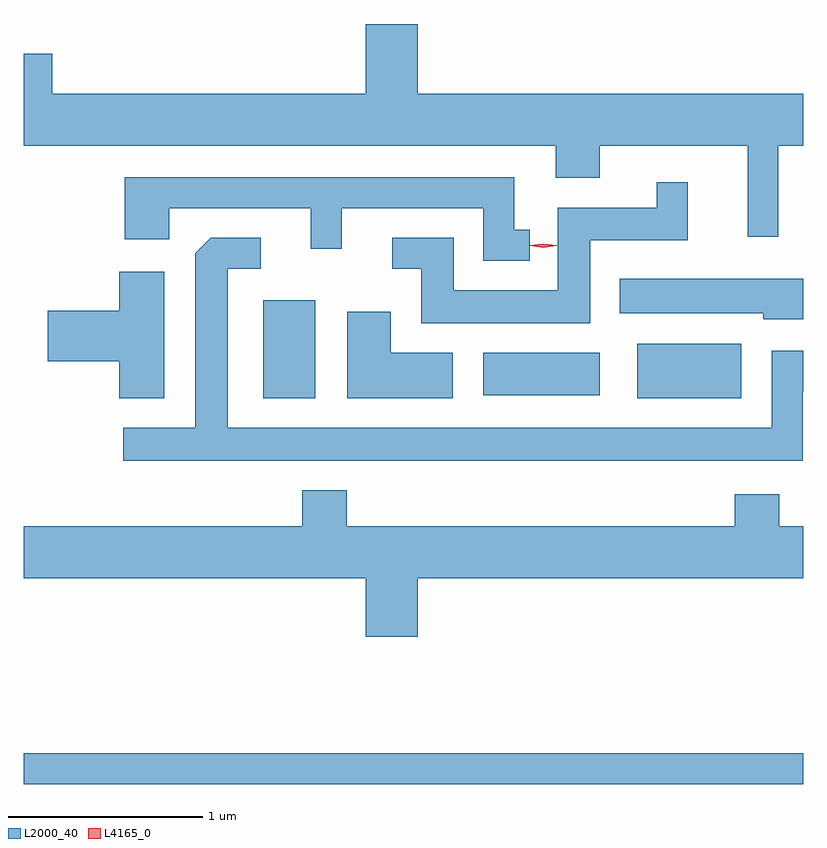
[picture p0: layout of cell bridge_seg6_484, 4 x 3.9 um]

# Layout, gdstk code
import gdstk
lib = gdstk.Library(unit=1e-6, precision=1e-09)
def R(c, l, rs):  # rectangles x0, y0, x1, y1
    for r in rs: c.add(gdstk.rectangle(r[:2], r[2:], *l))
def P(c, l, *ps):  # polygons
    for p in ps: c.add(gdstk.Polygon(p, *l))
L2000_40 = (2000, 40)
L4165_0 = (4165, 0)

bridge_seg6_484 = lib.new_cell('bridge_seg6_484')
R(bridge_seg6_484, L2000_40, [(832.702,1595.601,836.702,1595.759), (833.931,1597.581,834.199,1598.084), (835.851,1597.581,836.384,1597.859), (835.061,1597.596,835.659,1597.814)])
P(bridge_seg6_484, L2000_40, [(836.574,1598.876),(836.702,1598.876),(836.702,1599.144),(834.724,1599.144),(834.724,1599.501),(834.456,1599.501),(834.456,1599.144),(832.849,1599.144),(832.849,1599.349),(832.702,1599.349),(832.702,1598.876),(835.431,1598.876),(835.431,1598.711),(835.659,1598.711),(835.659,1598.876),(836.416,1598.876),(836.416,1598.408),(836.574,1598.408)],
  [(835.298,1598.444),(835.219,1598.444),(835.219,1598.714),(833.221,1598.714),(833.221,1598.396),(833.449,1598.396),(833.449,1598.556),(834.176,1598.556),(834.176,1598.348),(834.334,1598.348),(834.334,1598.556),(835.061,1598.556),(835.061,1598.286),(835.298,1598.286)],
  [(835.609,1598.391),(836.109,1598.391),(836.109,1598.688),(835.951,1598.688),(835.951,1598.559),(835.441,1598.559),(835.441,1598.134),(834.909,1598.134),(834.909,1598.404),(834.593,1598.404),(834.593,1598.246),(834.741,1598.246),(834.741,1597.966),(835.609,1597.966)],
  [(836.699,1597.616),(836.702,1597.616),(836.702,1597.824),(836.541,1597.824),(836.541,1597.429),(833.749,1597.429),(833.749,1598.246),(833.918,1598.246),(833.918,1598.404),(833.662,1598.404),(833.581,1598.324),(833.581,1597.429),(833.213,1597.429),(833.213,1597.261),(836.699,1597.261)],
  [(833.424,1598.229),(833.191,1598.229),(833.191,1598.029),(832.826,1598.029),(832.826,1597.771),(833.191,1597.771),(833.191,1597.581),(833.424,1597.581)],
  [(836.702,1598.194),(835.761,1598.194),(835.761,1598.016),(836.496,1598.016),(836.496,1597.986),(836.702,1597.986)],
  [(834.904,1597.814),(834.584,1597.814),(834.584,1598.024),(834.361,1598.024),(834.361,1597.581),(834.904,1597.581)],
  [(834.724,1596.656),(836.702,1596.656),(836.702,1596.924),(836.579,1596.924),(836.579,1597.089),(836.351,1597.089),(836.351,1596.924),(834.359,1596.924),(834.359,1597.109),(834.131,1597.109),(834.131,1596.924),(832.702,1596.924),(832.702,1596.656),(834.456,1596.656),(834.456,1596.356),(834.724,1596.356)])
P(bridge_seg6_484, L4165_0, [(835.368,1598.354),(835.299,1598.364),(835.299,1598.364),(835.299,1598.365),(835.368,1598.374),(835.438,1598.365),(835.438,1598.364),(835.438,1598.364)])

lib.write_gds('bridge_seg6_484.gds')
